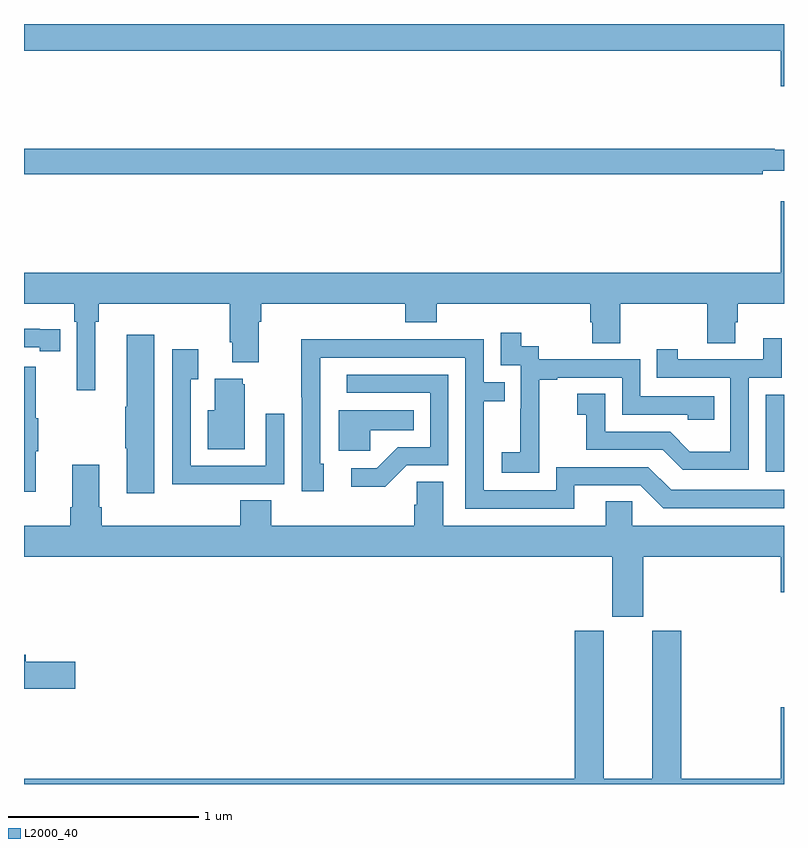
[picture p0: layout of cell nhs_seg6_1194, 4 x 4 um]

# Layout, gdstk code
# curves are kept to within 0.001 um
import gdstk
lib = gdstk.Library(unit=1e-6, precision=1e-09)
def R(c, l, rs):  # rectangles x0, y0, x1, y1
    for r in rs: c.add(gdstk.rectangle(r[:2], r[2:], *l))
def P(c, l, *ps):  # polygons
    for p in ps: c.add(gdstk.Polygon(p, *l))
L2000_40 = (2000, 40)

nhs_seg6_1194 = lib.new_cell('nhs_seg6_1194')
R(nhs_seg6_1194, L2000_40, [(188.904,921.144,189,921.549)])
P(nhs_seg6_1194, L2000_40, [(189,923.5),(185,923.5),(185,923.36),(188.984,923.36),(188.984,923.172),(189,923.172)],
  [(188.888,922.727),(189,922.727),(189,922.837),(188.95,922.837),(188.95,922.844),(185,922.844),(185,922.708),(188.888,922.708)],
  [(185.374,921.932),(185.393,921.932),(185.393,922.028),(186.083,922.028),(186.083,921.826),(186.095,921.826),(186.095,921.719),(186.235,921.719),(186.235,921.932),(186.248,921.932),(186.248,922.028),(187.007,922.028),(187.007,921.929),(187.172,921.929),(187.172,922.028),(187.979,922.028),(187.979,921.93),(187.991,921.93),(187.991,921.82),(188.139,921.82),(188.139,922.028),(188.596,922.028),(188.596,921.82),(188.743,921.82),(188.743,921.93),(188.756,921.93),(188.756,922.028),(189,922.028),(189,922.567),(188.984,922.567),(188.984,922.192),(185,922.192),(185,922.028),(185.264,922.028),(185.264,921.932),(185.277,921.932),(185.277,921.573),(185.374,921.573)],
  [(185.192,921.894),(185.084,921.894),(185.084,921.895),(185,921.895),(185,921.798),(185.084,921.798),(185.084,921.778),(185.192,921.778)],
  [(187.713,921.343),(187.712,921.343),(187.712,921.627),(187.807,921.627),(187.807,921.639),(188.148,921.639),(188.148,921.444),(188.493,921.444),(188.493,921.417),(188.633,921.417),(188.633,921.54),(188.244,921.54),(188.244,921.735),(187.71,921.735),(187.71,921.804),(187.618,921.804),(187.618,921.874),(187.509,921.874),(187.509,921.705),(187.614,921.705),(187.614,921.476),(187.613,921.476),(187.613,921.247),(187.515,921.247),(187.515,921.137),(187.713,921.137)],
  [(185.686,921.865),(185.54,921.865),(185.54,921.485),(185.533,921.485),(185.533,921.268),(185.54,921.268),(185.54,921.03),(185.686,921.03)],
  [(188.814,921.639),(188.988,921.639),(188.988,921.847),(188.891,921.847),(188.891,921.735),(188.44,921.735),(188.44,921.787),(188.329,921.787),(188.329,921.639),(188.718,921.639),(188.718,921.25),(188.504,921.25),(188.4,921.354),(188.058,921.354),(188.058,921.553),(187.911,921.553),(187.911,921.443),(187.96,921.443),(187.96,921.258),(188.363,921.258),(188.468,921.153),(188.814,921.153)],
  [(187.897,921.072),(188.244,921.072),(188.364,920.952),(189,920.952),(189,921.048),(188.406,921.048),(188.286,921.168),(187.8,921.168),(187.8,921.045),(187.419,921.045),(187.419,921.514),(187.529,921.514),(187.529,921.615),(187.419,921.615),(187.419,921.84),(186.923,921.84),(186.923,921.842),(186.46,921.842),(186.46,921.535),(186.462,921.535),(186.462,921.042),(186.577,921.042),(186.577,921.186),(186.558,921.186),(186.559,921.744),(187.323,921.744),(187.323,920.949),(187.897,920.949)],
  [(186.053,921.078),(186.369,921.078),(186.369,921.448),(186.273,921.448),(186.273,921.174),(185.877,921.174),(185.877,921.631),(185.917,921.631),(185.917,921.787),(185.781,921.787),(185.781,921.077),(186.053,921.077)],
  [(185.063,921.251),(185.074,921.251),(185.074,921.425),(185.063,921.425),(185.063,921.697),(185,921.697),(185,921.039),(185.063,921.039)],
  [(187.014,921.177),(187.233,921.177),(187.233,921.654),(186.699,921.654),(186.699,921.558),(187.137,921.558),(187.137,921.273),(186.968,921.273),(186.857,921.162),(186.723,921.162),(186.723,921.065),(186.901,921.065)],
  [(186.163,921.603),(186.152,921.603),(186.152,921.634),(186.005,921.634),(186.005,921.466),(185.966,921.466),(185.966,921.263),(186.163,921.263)],
  [(186.822,921.362),(187.052,921.362),(187.052,921.466),(186.656,921.466),(186.656,921.254),(186.822,921.254)],
  [(188.26,920.696),(188.984,920.696),(188.984,920.508),(189,920.508),(189,920.86),(188.202,920.86),(188.202,920.987),(188.063,920.987),(188.063,920.86),(187.207,920.86),(187.207,921.092),(187.068,921.092),(187.068,920.969),(187.055,920.969),(187.055,920.86),(186.302,920.86),(186.302,920.993),(186.137,920.993),(186.137,920.86),(185.408,920.86),(185.408,920.956),(185.395,920.956),(185.395,921.181),(185.255,921.181),(185.255,920.956),(185.243,920.956),(185.243,920.86),(185,920.86),(185,920.696),(188.096,920.696),(188.096,920.379),(188.26,920.379)],
  [(189,919.903),(188.984,919.903),(188.984,919.528),(188.459,919.528),(188.459,920.307),(188.306,920.307),(188.306,919.528),(188.05,919.528),(188.05,920.307),(187.898,920.307),(187.898,919.528),(185,919.528),(185,919.5),(189,919.5)],
  [(185.269,920.144),(185.008,920.144),(185.008,920.18),(185,920.18),(185,920.002),(185.269,920.002)])

lib.write_gds('nhs_seg6_1194.gds')
